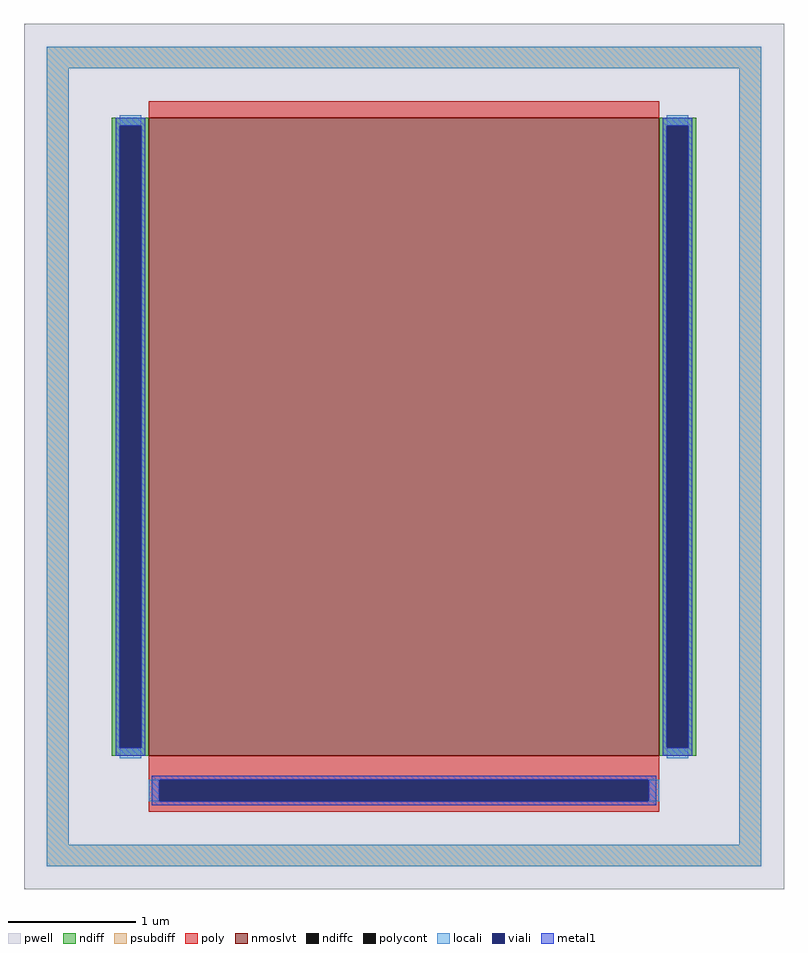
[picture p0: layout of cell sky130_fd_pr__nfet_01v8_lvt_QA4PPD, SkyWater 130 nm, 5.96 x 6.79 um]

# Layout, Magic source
magic
tech sky130A
magscale 1 2
<< pwell >>
rect -596 -679 596 679
<< nmoslvt >>
rect -400 -469 400 531
<< ndiff >>
rect -458 519 -400 531
rect -458 -457 -446 519
rect -412 -457 -400 519
rect -458 -469 -400 -457
rect 400 519 458 531
rect 400 -457 412 519
rect 446 -457 458 519
rect 400 -469 458 -457
<< ndiffc >>
rect -446 -457 -412 519
rect 412 -457 446 519
<< psubdiff >>
rect -560 609 560 643
rect -560 -609 -526 609
rect 526 -609 560 609
rect -560 -643 560 -609
<< poly >>
rect -400 531 400 557
rect -400 -507 400 -469
rect -400 -541 -384 -507
rect 384 -541 400 -507
rect -400 -557 400 -541
<< polycont >>
rect -384 -541 384 -507
<< locali >>
rect -560 609 560 643
rect -560 -609 -526 609
rect -446 519 -412 535
rect -446 -473 -412 -457
rect 412 519 446 535
rect 412 -473 446 -457
rect -400 -541 -384 -507
rect 384 -541 400 -507
rect 526 -609 560 609
rect -560 -643 560 -609
<< viali >>
rect -446 -457 -412 519
rect 412 -457 446 519
rect -384 -541 384 -507
<< metal1 >>
rect -452 519 -406 531
rect -452 -457 -446 519
rect -412 -457 -406 519
rect -452 -469 -406 -457
rect 406 519 452 531
rect 406 -457 412 519
rect 446 -457 452 519
rect 406 -469 452 -457
rect -396 -507 396 -501
rect -396 -541 -384 -507
rect 384 -541 396 -507
rect -396 -547 396 -541
<< properties >>
string FIXED_BBOX -543 -626 543 626
string gencell sky130_fd_pr__nfet_01v8_lvt
string library sky130
string parameters w 5 l 4 m 1 nf 1 diffcov 100 polycov 100 guard 1 glc 0 grc 0 gtc 0 gbc 0 tbcov 100 rlcov 100 topc 0 botc 1 poverlap 0 doverlap 1 lmin 0.15 wmin 0.42 compatible {sky130_fd_pr__nfet_01v8 sky130_fd_pr__nfet_01v8_lvt  sky130_fd_bs_flash__special_sonosfet_star  sky130_fd_pr__nfet_g5v0d10v5 sky130_fd_pr__nfet_05v0_nvt  sky130_fd_pr__nfet_03v3_nvt} full_metal 1 viasrc 100 viadrn 100 viagate 100 viagb 0 viagr 0 viagl 0 viagt 0
<< end >>
